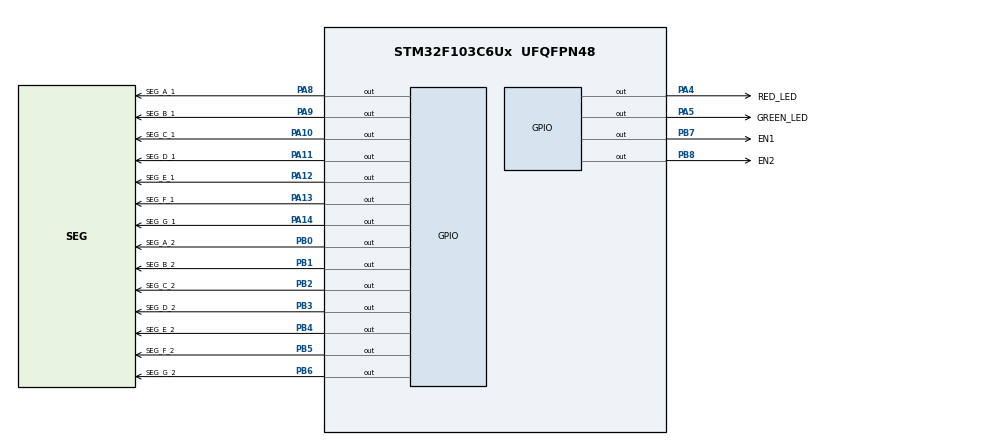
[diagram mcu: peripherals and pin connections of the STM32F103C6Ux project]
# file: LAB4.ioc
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Mcu.Family=STM32F1
Mcu.Name=STM32F103C6Ux
Mcu.Package=UFQFPN48
NVIC.PriorityGroup=NVIC_PRIORITYGROUP_4
NVIC.TIM2_IRQn=true\:0\:0\:false\:false\:true\:true\:true
PA10.GPIO_Label=SEG_C_1
PA10.Signal=GPIO_Output
PA11.GPIO_Label=SEG_D_1
PA11.Signal=GPIO_Output
PA12.GPIO_Label=SEG_E_1
PA12.Signal=GPIO_Output
PA13.GPIO_Label=SEG_F_1
PA13.Signal=GPIO_Output
PA14.GPIO_Label=SEG_G_1
PA14.Signal=GPIO_Output
PA4.GPIO_Label=RED_LED
PA4.Signal=GPIO_Output
PA5.GPIO_Label=GREEN_LED
PA5.Signal=GPIO_Output
PA8.GPIO_Label=SEG_A_1
PA8.Signal=GPIO_Output
PA9.GPIO_Label=SEG_B_1
PA9.Signal=GPIO_Output
PB0.GPIO_Label=SEG_A_2
PB0.Signal=GPIO_Output
PB1.GPIO_Label=SEG_B_2
PB1.Signal=GPIO_Output
PB2.GPIO_Label=SEG_C_2
PB2.Signal=GPIO_Output
PB3.GPIO_Label=SEG_D_2
PB3.Signal=GPIO_Output
PB4.GPIO_Label=SEG_E_2
PB4.Signal=GPIO_Output
PB5.GPIO_Label=SEG_F_2
PB5.Signal=GPIO_Output
PB6.GPIO_Label=SEG_G_2
PB6.Signal=GPIO_Output
PB7.GPIO_Label=EN1
PB7.Signal=GPIO_Output
PB8.GPIO_Label=EN2
PB8.Signal=GPIO_Output
ProjectManager.HeapSize=0x200
ProjectManager.StackSize=0x400
ProjectManager.TargetToolchain=STM32CubeIDE
RCC.APB1Freq_Value=8000000
RCC.APB2Freq_Value=8000000
TIM2.Period=9
TIM2.Prescaler=7999
VP_SYS_VS_ND.Mode=No_Debug
VP_TIM2_VS_ClockSourceINT.Mode=Internal
board=custom

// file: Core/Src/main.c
/* USER CODE BEGIN Header */
/**
  ******************************************************************************
  * @file           : main.c
  * @brief          : Main program body
  ******************************************************************************
  * @attention
  *
  * <h2><center>&copy; Copyright (c) 2023 STMicroelectronics.
  * All rights reserved.</center></h2>
  *
  * This software component is licensed by ST under BSD 3-Clause license,
  * the "License"; You may not use this file except in compliance with the
  * License. You may obtain a copy of the License at:
  *                        opensource.org/licenses/BSD-3-Clause
  *
  ******************************************************************************
  */
/* USER CODE END Header */
#include "main.h"
#include "display.h"
#include "scheduler.h"

TIM_HandleTypeDef htim2;

void SystemClock_Config(void);
static void MX_GPIO_Init(void);
static void MX_TIM2_Init(void);

/* USER CODE BEGIN 0 */
int seg1 = 0;
int seg2 = 0;
void display_seg1(void) {
	if (seg1 > 9) {
		seg1 = 0;
	}
	seg1++;
}

void display_seg2(void) {
	if (seg2 > 9) {
		seg2 = 0;
	}
	seg2++;
}

void blink_red_led(void) {
	HAL_GPIO_TogglePin(RED_LED_GPIO_Port, RED_LED_Pin);
}

void blink_green_led(void) {
	HAL_GPIO_TogglePin(GREEN_LED_GPIO_Port, GREEN_LED_Pin);
}

/* USER CODE END 0 */

int main(void)
{

  /* MCU Configuration--------------------------------------------------------*/

  /* Reset of all peripherals, Initializes the Flash interface and the Systick. */
  HAL_Init();

  /* Configure the system clock */
  SystemClock_Config();

  /* Initialize all configured peripherals */
  MX_GPIO_Init();
  MX_TIM2_Init();
  /* USER CODE BEGIN 2 */
  HAL_TIM_Base_Start_IT(&htim2);
  /* USER CODE END 2 */

  /* Infinite loop */
  /* USER CODE BEGIN WHILE */
  SCH_Init();
  SCH_Add_Task(blink_red_led, 0, 50);
  SCH_Add_Task(display_seg1, 1, 100);
  SCH_Add_Task(blink_green_led, 2, 150);
  SCH_Add_Task(display_seg2, 3, 200);
  SCH_Add_Task(DISPLAY_OUTPUT, 4, 250);

  while (1)
  {
	  SCH_Dispatch_Tasks();
  }
  /* USER CODE END 3 */
}

void SystemClock_Config(void)
{
  RCC_OscInitTypeDef RCC_OscInitStruct = {0};
  RCC_ClkInitTypeDef RCC_ClkInitStruct = {0};

  /** Initializes the RCC Oscillators according to the specified parameters
  * in the RCC_OscInitTypeDef structure.
  */
  RCC_OscInitStruct.OscillatorType = RCC_OSCILLATORTYPE_HSI;
  RCC_OscInitStruct.HSIState = RCC_HSI_ON;
  RCC_OscInitStruct.HSICalibrationValue = RCC_HSICALIBRATION_DEFAULT;
  RCC_OscInitStruct.PLL.PLLState = RCC_PLL_NONE;
  if (HAL_RCC_OscConfig(&RCC_OscInitStruct) != HAL_OK)
  {
    Error_Handler();
  }
  /** Initializes the CPU, AHB and APB buses clocks
  */
  RCC_ClkInitStruct.ClockType = RCC_CLOCKTYPE_HCLK|RCC_CLOCKTYPE_SYSCLK
                              |RCC_CLOCKTYPE_PCLK1|RCC_CLOCKTYPE_PCLK2;
  RCC_ClkInitStruct.SYSCLKSource = RCC_SYSCLKSOURCE_HSI;
  RCC_ClkInitStruct.AHBCLKDivider = RCC_SYSCLK_DIV1;
  RCC_ClkInitStruct.APB1CLKDivider = RCC_HCLK_DIV1;
  RCC_ClkInitStruct.APB2CLKDivider = RCC_HCLK_DIV1;

  if (HAL_RCC_ClockConfig(&RCC_ClkInitStruct, FLASH_LATENCY_0) != HAL_OK)
  {
    Error_Handler();
  }
}

static void MX_TIM2_Init(void)
{

  TIM_ClockConfigTypeDef sClockSourceConfig = {0};
  TIM_MasterConfigTypeDef sMasterConfig = {0};

  htim2.Instance = TIM2;
  htim2.Init.Prescaler = 7999;
  htim2.Init.CounterMode = TIM_COUNTERMODE_UP;
  htim2.Init.Period = 9;
  htim2.Init.ClockDivision = TIM_CLOCKDIVISION_DIV1;
  htim2.Init.AutoReloadPreload = TIM_AUTORELOAD_PRELOAD_DISABLE;
  if (HAL_TIM_Base_Init(&htim2) != HAL_OK)
  {
    Error_Handler();
  }
  sClockSourceConfig.ClockSource = TIM_CLOCKSOURCE_INTERNAL;
  if (HAL_TIM_ConfigClockSource(&htim2, &sClockSourceConfig) != HAL_OK)
  {
    Error_Handler();
  }
  sMasterConfig.MasterOutputTrigger = TIM_TRGO_RESET;
  sMasterConfig.MasterSlaveMode = TIM_MASTERSLAVEMODE_DISABLE;
  if (HAL_TIMEx_MasterConfigSynchronization(&htim2, &sMasterConfig) != HAL_OK)
  {
    Error_Handler();
  }

}

static void MX_GPIO_Init(void)
{
  GPIO_InitTypeDef GPIO_InitStruct = {0};

  /* GPIO Ports Clock Enable */
  __HAL_RCC_GPIOA_CLK_ENABLE();
  __HAL_RCC_GPIOB_CLK_ENABLE();

  /*Configure GPIO pin Output Level */
  HAL_GPIO_WritePin(GPIOA, RED_LED_Pin|GREEN_LED_Pin|SEG_A_1_Pin|SEG_B_1_Pin
                          |SEG_C_1_Pin|SEG_D_1_Pin|SEG_E_1_Pin|SEG_F_1_Pin
                          |SEG_G_1_Pin, GPIO_PIN_RESET);

  /*Configure GPIO pin Output Level */
  HAL_GPIO_WritePin(GPIOB, SEG_A_2_Pin|SEG_B_2_Pin|SEG_C_2_Pin|SEG_D_2_Pin
                          |SEG_E_2_Pin|SEG_F_2_Pin|SEG_G_2_Pin|EN1_Pin
                          |EN2_Pin, GPIO_PIN_RESET);

  /*Configure GPIO pins : RED_LED_Pin GREEN_LED_Pin SEG_A_1_Pin SEG_B_1_Pin
                           SEG_C_1_Pin SEG_D_1_Pin SEG_E_1_Pin SEG_F_1_Pin
                           SEG_G_1_Pin */
  GPIO_InitStruct.Pin = RED_LED_Pin|GREEN_LED_Pin|SEG_A_1_Pin|SEG_B_1_Pin
                          |SEG_C_1_Pin|SEG_D_1_Pin|SEG_E_1_Pin|SEG_F_1_Pin
                          |SEG_G_1_Pin;
  GPIO_InitStruct.Mode = GPIO_MODE_OUTPUT_PP;
  GPIO_InitStruct.Pull = GPIO_NOPULL;
  GPIO_InitStruct.Speed = GPIO_SPEED_FREQ_LOW;
  HAL_GPIO_Init(GPIOA, &GPIO_InitStruct);

  /*Configure GPIO pins : SEG_A_2_Pin SEG_B_2_Pin SEG_C_2_Pin SEG_D_2_Pin
                           SEG_E_2_Pin SEG_F_2_Pin SEG_G_2_Pin EN1_Pin
                           EN2_Pin */
  GPIO_InitStruct.Pin = SEG_A_2_Pin|SEG_B_2_Pin|SEG_C_2_Pin|SEG_D_2_Pin
                          |SEG_E_2_Pin|SEG_F_2_Pin|SEG_G_2_Pin|EN1_Pin
                          |EN2_Pin;
  GPIO_InitStruct.Mode = GPIO_MODE_OUTPUT_PP;
  GPIO_InitStruct.Pull = GPIO_NOPULL;
  GPIO_InitStruct.Speed = GPIO_SPEED_FREQ_LOW;
  HAL_GPIO_Init(GPIOB, &GPIO_InitStruct);

}

/* USER CODE BEGIN 4 */
void HAL_TIM_PeriodElapsedCallback(TIM_HandleTypeDef *htim) {
	SCH_Update();
	update_SEG(seg1, seg2);
}
/* USER CODE END 4 */

void Error_Handler(void)
{
  __disable_irq();
  while (1)
  {
  }
}

/************************ (C) COPYRIGHT STMicroelectronics *****END OF FILE****/
